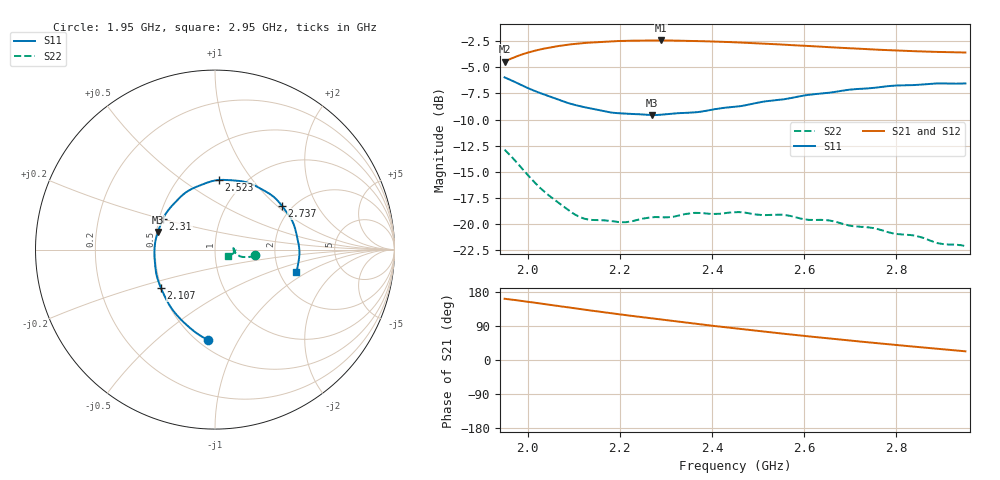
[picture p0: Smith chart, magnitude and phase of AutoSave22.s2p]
!Agilent N9923A: A.07.32
!Date: Wednesday, 01 June 2016 22:53:03
!Model: N9923A
!Serial: MY52412257
!GPS Latitude:
!GPS Longitude:
!GPS TimeStamp: 0001-01-01 00:00:00Z
!GPS Seconds Since Last Read: 0
!CHECKSUM:0614810214
!Correction: S11(ON U)S21(ON U)S12(ON U)S22(ON U)
!S2P File: Measurements:S11,S21,S12,S22:
# Hz S DB R 50
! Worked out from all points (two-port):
!   301 points, 1.95 GHz to 2.95 GHz, reference 50 ohm
!   highest |S21| = -2.43 dB at 2.29 GHz (marker M1); lowest = -4.4 dB at 1.95 GHz (marker M2)
!   |S21| within 3 dB of the highest: start of sweep to end of sweep
!   lowest |S11| = -9.6 dB at 2.27 GHz (marker M3), VSWR 2.00, Z = 25.5 + j5.62 ohm
!   |S11| at or under -10 dB: nowhere
!   |S22| runs from -22.1 to -12.9 dB; largest |S21 - S12| = 0.001
!   S11 on the Smith chart (normalised r, x): 1.95 GHz: 0.56, -0.75; 2.107 GHz: 0.50, -0.25; 2.31 GHz: 0.52, +0.20; 2.523 GHz: 0.77, +0.70; 2.737 GHz: 1.78, +1.08; 2.95 GHz: 2.47, -0.80
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1.95e9  -5.96 -94.5  -4.44 161.6  -4.45 161.6  -12.87 -8.1
1.986667e9  -6.70 -106.5  -3.78 156.0  -3.78 156.0  -14.62 -12.8
2.023333e9  -7.40 -118.5  -3.33 149.8  -3.33 149.8  -16.37 -15.2
2.063333e9  -8.03 -130.8  -2.98 142.9  -2.98 143.0  -17.84 -12.7
2.106667e9  -8.64 -144.6  -2.74 135.6  -2.74 135.6  -19.18 -7.6
2.12e9  -8.78 -148.9  -2.68 133.4  -2.68 133.4  -19.44 -6.1
2.203333e9  -9.41 -175.9  -2.47 119.9  -2.47 120.0  -19.82 3.7
2.27e9  -9.57 162.8  -2.43 109.6  -2.43 109.6  -19.35 6.2
2.286667e9  -9.54 157.1  -2.43 107.0  -2.43 107.1  -19.33 6.5
2.29e9  -9.53 156.0  -2.43 106.5  -2.43 106.6  -19.34 6.5
2.31e9  -9.45 149.6  -2.43 103.6  -2.43 103.6  -19.33 6.0
2.356667e9  -9.32 135.3  -2.47 96.7  -2.47 96.7  -18.95 4.3
2.396667e9  -9.08 122.6  -2.52 91.0  -2.52 91.0  -19.02 3.2
2.453333e9  -8.76 106.3  -2.61 83.0  -2.61 83.1  -18.86 -0.2
2.523333e9  -8.21 86.8  -2.75 73.6  -2.75 73.6  -19.13 -4.3
2.62e9  -7.58 61.5  -2.98 61.1  -2.98 61.1  -19.60 -10.0
2.686667e9  -7.21 44.6  -3.15 52.9  -3.15 52.9  -20.02 -13.0
2.736667e9  -7.02 33.0  -3.26 46.9  -3.26 47.0  -20.30 -16.3
2.783333e9  -6.79 21.9  -3.36 41.5  -3.36 41.5  -20.78 -18.0
2.843333e9  -6.68 8.4  -3.46 34.7  -3.46 34.8  -21.13 -21.0
2.876667e9  -6.57 0.8  -3.51 31.0  -3.51 31.0  -21.62 -21.8
2.95e9  -6.54 -15.6  -3.58 23.0  -3.58 23.0  -22.11 -25.3
